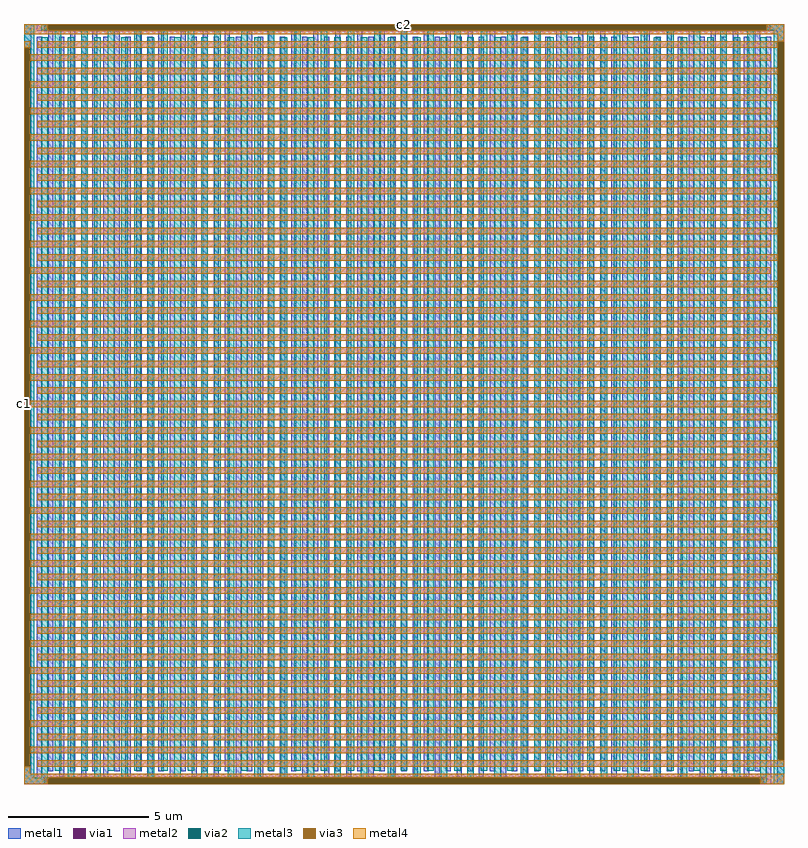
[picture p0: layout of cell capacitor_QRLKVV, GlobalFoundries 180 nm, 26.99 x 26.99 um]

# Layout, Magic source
magic
tech gf180mcuD
magscale 3 26
<< metal1 >>
rect 0 4534 44 4679
rect 80 4678 4679 4679
rect 80 4638 126 4678
rect 4594 4638 4679 4678
rect 80 4637 4679 4638
rect 0 106 1 4534
rect 41 106 44 4534
rect 0 42 44 106
rect 80 42 112 4601
rect 148 78 180 4637
rect 216 42 248 4601
rect 284 78 316 4637
rect 352 42 384 4601
rect 420 78 452 4637
rect 488 42 520 4601
rect 556 78 588 4637
rect 624 42 656 4601
rect 692 78 724 4637
rect 760 42 792 4601
rect 828 78 860 4637
rect 896 42 928 4601
rect 964 78 996 4637
rect 1032 42 1064 4601
rect 1100 78 1132 4637
rect 1168 42 1200 4601
rect 1236 78 1268 4637
rect 1304 42 1336 4601
rect 1372 78 1404 4637
rect 1440 42 1472 4601
rect 1508 78 1540 4637
rect 1576 42 1608 4601
rect 1644 78 1676 4637
rect 1712 42 1744 4601
rect 1780 78 1812 4637
rect 1848 42 1880 4601
rect 1916 78 1948 4637
rect 1984 42 2016 4601
rect 2052 78 2084 4637
rect 2120 42 2152 4601
rect 2188 78 2220 4637
rect 2256 42 2288 4601
rect 2324 78 2356 4637
rect 2392 42 2424 4601
rect 2460 78 2492 4637
rect 2528 42 2560 4601
rect 2596 78 2628 4637
rect 2664 42 2696 4601
rect 2732 78 2764 4637
rect 2800 42 2832 4601
rect 2868 78 2900 4637
rect 2936 42 2968 4601
rect 3004 78 3036 4637
rect 3072 42 3104 4601
rect 3140 78 3172 4637
rect 3208 42 3240 4601
rect 3276 78 3308 4637
rect 3344 42 3376 4601
rect 3412 78 3444 4637
rect 3480 42 3512 4601
rect 3548 78 3580 4637
rect 3616 42 3648 4601
rect 3684 78 3716 4637
rect 3752 42 3784 4601
rect 3820 78 3852 4637
rect 3888 42 3920 4601
rect 3956 78 3988 4637
rect 4024 42 4056 4601
rect 4092 78 4124 4637
rect 4160 42 4192 4601
rect 4228 78 4260 4637
rect 4296 42 4328 4601
rect 4364 78 4396 4637
rect 4432 42 4464 4601
rect 4500 78 4532 4637
rect 4568 42 4600 4601
rect 0 41 4600 42
rect 0 1 126 41
rect 4554 1 4600 41
rect 0 0 4600 1
rect 4636 4574 4679 4637
rect 4636 146 4638 4574
rect 4678 146 4679 4574
rect 4636 0 4679 146
<< via1 >>
rect 126 4638 4594 4678
rect 1 106 41 4534
rect 126 1 4554 41
rect 4638 146 4678 4574
<< metal2 >>
rect 0 4678 146 4679
rect 4574 4678 4679 4679
rect 0 4638 126 4678
rect 4594 4638 4679 4678
rect 0 4616 4679 4638
rect 4638 4574 4679 4616
rect 0 4534 41 4574
rect 84 4534 4638 4574
rect 41 4452 4595 4492
rect 84 4370 4638 4410
rect 41 4288 4595 4328
rect 84 4206 4638 4246
rect 41 4124 4595 4164
rect 84 4042 4638 4082
rect 41 3960 4595 4000
rect 84 3878 4638 3918
rect 41 3796 4595 3836
rect 84 3714 4638 3754
rect 41 3632 4595 3672
rect 84 3550 4638 3590
rect 41 3468 4595 3508
rect 84 3386 4638 3426
rect 41 3304 4595 3344
rect 84 3222 4638 3262
rect 41 3140 4595 3180
rect 84 3058 4638 3098
rect 41 2976 4595 3016
rect 84 2894 4638 2934
rect 41 2812 4595 2852
rect 84 2730 4638 2770
rect 41 2648 4595 2688
rect 84 2566 4638 2606
rect 41 2484 4595 2524
rect 84 2402 4638 2442
rect 41 2320 4595 2360
rect 84 2238 4638 2278
rect 41 2156 4595 2196
rect 84 2074 4638 2114
rect 41 1992 4595 2032
rect 84 1910 4638 1950
rect 41 1828 4595 1868
rect 84 1746 4638 1786
rect 41 1664 4595 1704
rect 84 1582 4638 1622
rect 41 1500 4595 1540
rect 84 1418 4638 1458
rect 41 1336 4595 1376
rect 84 1254 4638 1294
rect 41 1172 4595 1212
rect 84 1090 4638 1130
rect 41 1008 4595 1048
rect 84 926 4638 966
rect 41 844 4595 884
rect 84 762 4638 802
rect 41 680 4595 720
rect 84 598 4638 638
rect 41 516 4595 556
rect 84 434 4638 474
rect 41 352 4595 392
rect 84 270 4638 310
rect 41 188 4595 228
rect 84 106 4679 146
rect 0 64 41 106
rect 0 41 4679 64
rect 0 1 126 41
rect 4554 1 4679 41
rect 0 0 146 1
rect 4534 0 4679 1
<< via2 >>
rect 146 4678 4574 4679
rect 146 4639 4574 4678
rect 0 106 1 4534
rect 1 106 40 4534
rect 4639 146 4678 4574
rect 4678 146 4679 4574
rect 146 1 4534 40
rect 146 0 4534 1
<< metal3 >>
rect 0 4534 64 4679
rect 106 4639 146 4679
rect 4574 4639 4679 4679
rect 40 106 64 4534
rect 0 40 64 106
rect 106 40 146 4597
rect 188 82 228 4639
rect 270 40 310 4597
rect 352 82 392 4639
rect 434 40 474 4597
rect 516 82 556 4639
rect 598 40 638 4597
rect 680 82 720 4639
rect 762 40 802 4597
rect 844 82 884 4639
rect 926 40 966 4597
rect 1008 82 1048 4639
rect 1090 40 1130 4597
rect 1172 82 1212 4639
rect 1254 40 1294 4597
rect 1336 82 1376 4639
rect 1418 40 1458 4597
rect 1500 82 1540 4639
rect 1582 40 1622 4597
rect 1664 82 1704 4639
rect 1746 40 1786 4597
rect 1828 82 1868 4639
rect 1910 40 1950 4597
rect 1992 82 2032 4639
rect 2074 40 2114 4597
rect 2156 82 2196 4639
rect 2238 40 2278 4597
rect 2320 82 2360 4639
rect 2402 40 2442 4597
rect 2484 82 2524 4639
rect 2566 40 2606 4597
rect 2648 82 2688 4639
rect 2730 40 2770 4597
rect 2812 82 2852 4639
rect 2894 40 2934 4597
rect 2976 82 3016 4639
rect 3058 40 3098 4597
rect 3140 82 3180 4639
rect 3222 40 3262 4597
rect 3304 82 3344 4639
rect 3386 40 3426 4597
rect 3468 82 3508 4639
rect 3550 40 3590 4597
rect 3632 82 3672 4639
rect 3714 40 3754 4597
rect 3796 82 3836 4639
rect 3878 40 3918 4597
rect 3960 82 4000 4639
rect 4042 40 4082 4597
rect 4124 82 4164 4639
rect 4206 40 4246 4597
rect 4288 82 4328 4639
rect 4370 40 4410 4597
rect 4452 82 4492 4639
rect 0 0 146 40
rect 4534 0 4574 4597
rect 4616 4574 4679 4639
rect 4616 146 4639 4574
rect 4616 0 4679 146
<< via3 >>
rect 146 4639 4574 4679
rect 0 106 40 4534
rect 146 0 4534 40
rect 4639 146 4679 4574
<< metal4 >>
rect 0 4639 146 4679
rect 4574 4639 4679 4679
rect 0 4616 4679 4639
rect 4639 4574 4679 4616
rect 0 4534 40 4574
rect 82 4534 4639 4574
rect 40 4452 4597 4492
rect 82 4370 4639 4410
rect 40 4288 4597 4328
rect 82 4206 4639 4246
rect 40 4124 4597 4164
rect 82 4042 4639 4082
rect 40 3960 4597 4000
rect 82 3878 4639 3918
rect 40 3796 4597 3836
rect 82 3714 4639 3754
rect 40 3632 4597 3672
rect 82 3550 4639 3590
rect 40 3468 4597 3508
rect 82 3386 4639 3426
rect 40 3304 4597 3344
rect 82 3222 4639 3262
rect 40 3140 4597 3180
rect 82 3058 4639 3098
rect 40 2976 4597 3016
rect 82 2894 4639 2934
rect 40 2812 4597 2852
rect 82 2730 4639 2770
rect 40 2648 4597 2688
rect 82 2566 4639 2606
rect 40 2484 4597 2524
rect 82 2402 4639 2442
rect 40 2320 4597 2360
rect 82 2238 4639 2278
rect 40 2156 4597 2196
rect 82 2074 4639 2114
rect 40 1992 4597 2032
rect 82 1910 4639 1950
rect 40 1828 4597 1868
rect 82 1746 4639 1786
rect 40 1664 4597 1704
rect 82 1582 4639 1622
rect 40 1500 4597 1540
rect 82 1418 4639 1458
rect 40 1336 4597 1376
rect 82 1254 4639 1294
rect 40 1172 4597 1212
rect 82 1090 4639 1130
rect 40 1008 4597 1048
rect 82 926 4639 966
rect 40 844 4597 884
rect 82 762 4639 802
rect 40 680 4597 720
rect 82 598 4639 638
rect 40 516 4597 556
rect 82 434 4639 474
rect 40 352 4597 392
rect 82 270 4639 310
rect 40 188 4597 228
rect 82 106 4679 146
rect 0 64 40 106
rect 0 40 4679 64
rect 0 0 146 40
rect 4534 0 4679 40
<< labels >>
rlabel via3 2 2340 2 2340 0 c1
port 3 nsew
rlabel via3 2340 4677 2340 4677 0 c2
port 4 nsew
<< properties >>
string device csubckt cap_cmomf 0 0 1 1 w=25.097u l=25.097u mmin=1 mmax=4 subblock=0 mm_ok=1 c1 0 0 c2 0 0
string FIXED_BBOX 0 0 4679 4679
string gencell cap_cmomf
string library gf180mcu
string parameters w 25.097 l 25.097 value 1270.0 class capacitor mmin 1 mmax 4 square 1 subblock 0 lmin 2.00 wmin 2.00 lmax 100.0 wmax 100.0 m 1
<< end >>
